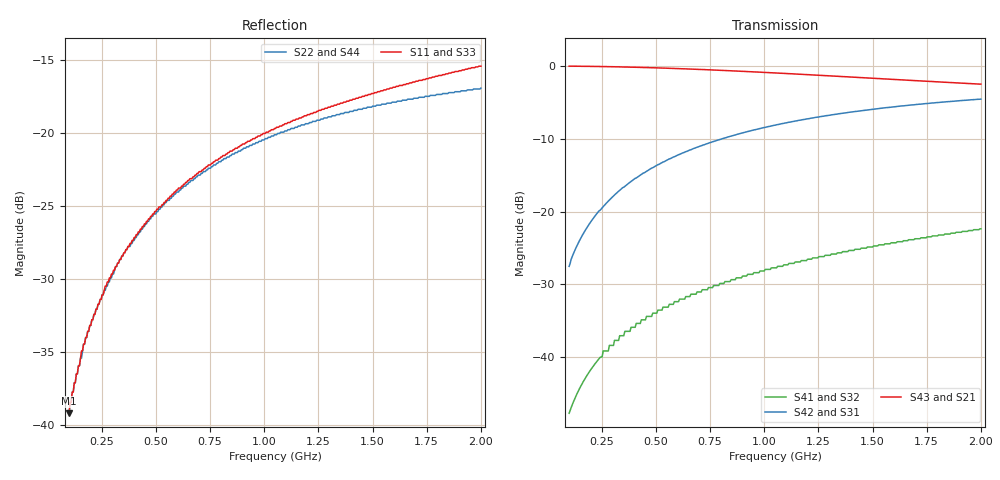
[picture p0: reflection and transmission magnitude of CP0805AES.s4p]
!	AVX THIN FILM OPERATION
!	CP0805 DIRECTIONAL COUPLERS
!	P/N CP0805AxxxxEWTR/ESTR
!	Network	Analyzer HP8720ES.07.64:Feb23,2000 Serial No.US39172382
!	Hewlett-Packard
!	8 August 2007	02:45:57
# MHZ S MA R 50
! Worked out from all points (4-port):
!   400 points, 100 MHz to 2 GHz, reference 50 ohm
!   strongest paths, dB at 100 MHz, 576.2 MHz, 1.052 GHz, 1.529 GHz, 2 GHz:
!     S43: 0.0, -0.3, -0.9, -1.7, -2.5
!     S21: 0.0, -0.3, -0.9, -1.7, -2.5
!     S42: -27.5, -12.6, -8.1, -5.8, -4.5
!     S31: -27.5, -12.6, -8.2, -6.1, -5.0
!     S41: -47.8, -32.8, -27.7, -24.6, -22.4
!     S32: -47.8, -32.8, -27.7, -24.6, -22.4
!   lowest |S11| = -39.2 dB at 100 MHz (marker M1), VSWR 1.02, Z = 50 + j1.1 ohm
!   |S11| at or under -10 dB: start of sweep to end of sweep
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100  0.011 87.2  0.999 -2.8  0.042 86.9  0.004097 -97.0
     0.999 -2.8  0.011 87.2  0.004097 -97.0  0.042 86.9
     0.042 86.9  0.004097 -97.0  0.011 87.2  0.999 -2.8
     0.004097 -97.0  0.042 86.9  0.999 -2.8  0.011 87.2
157.143  0.018 85.5  0.997 -4.5  0.067 85.1  0.006433 -101.1
         0.997 -4.5  0.017 85.5  0.006433 -101.1  0.067 85.1
         0.067 85.1  0.006433 -101.1  0.018 85.5  0.997 -4.5
         0.006433 -101.1  0.067 85.1  0.997 -4.5  0.017 85.5
257.143  0.028 82.8  0.993 -7.3  0.108 82.0  0.011 -108.0
         0.993 -7.3  0.028 82.8  0.011 -108.0  0.108 82.0
         0.108 82.0  0.011 -108.0  0.028 82.8  0.993 -7.3
         0.011 -108.0  0.108 82.0  0.993 -7.3  0.028 82.8
371.429  0.041 79.6  0.985 -10.4  0.155 78.5  0.015 -115.9
         0.985 -10.4  0.041 79.7  0.015 -115.9  0.155 78.5
         0.155 78.5  0.015 -115.9  0.041 79.6  0.985 -10.4
         0.015 -115.9  0.155 78.5  0.985 -10.4  0.041 79.7
628.571  0.067 73.0  0.958 -17.3  0.253 70.9  0.025 -133.0
         0.958 -17.3  0.066 73.1  0.025 -133.0  0.254 70.9
         0.253 70.9  0.025 -133.0  0.067 73.0  0.958 -17.3
         0.025 -133.0  0.254 70.9  0.958 -17.3  0.066 73.1
1176.19  0.114 61.5  0.877 -30.1  0.421 56.7  0.046 -165.5
         0.877 -30.1  0.107 62.2  0.046 -165.5  0.428 56.6
         0.421 56.7  0.046 -165.5  0.114 61.5  0.877 -30.1
         0.046 -165.5  0.428 56.6  0.877 -30.1  0.107 62.2
2000  0.17 49.7  0.752 -44.7  0.563 40.9  0.076 156.4
      0.752 -44.7  0.143 54.4  0.076 156.4  0.593 40.2
      0.563 40.9  0.076 156.4  0.17 49.7  0.752 -44.7
      0.076 156.4  0.593 40.2  0.752 -44.7  0.143 54.4
